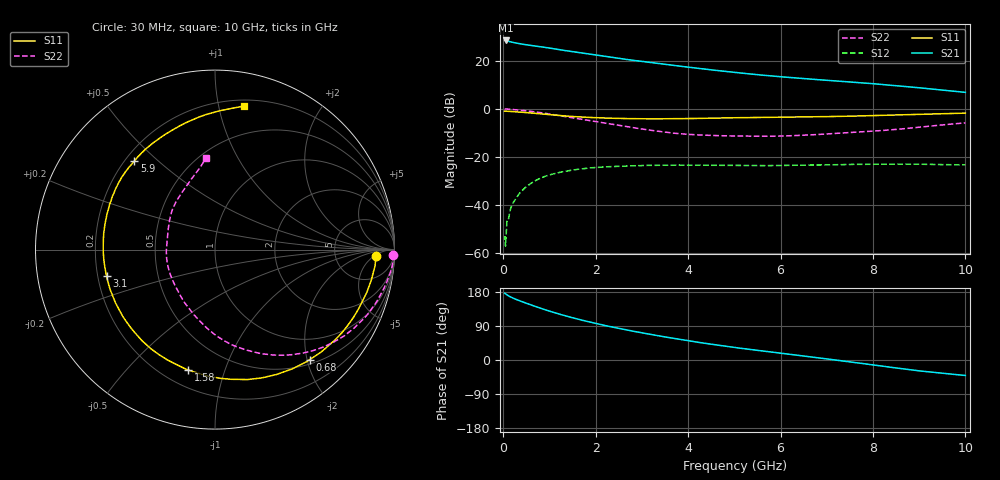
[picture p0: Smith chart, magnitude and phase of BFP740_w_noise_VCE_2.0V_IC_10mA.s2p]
! Infineon Technologies  Discrete & RF Semiconductors
! BFP740
! VCE =  2.0 V,  IC =  10 mA
! Common Emitter S-Parameters:  Jan 2016
# GHz  S  MA  R  50
!  f  S11  S21  S12  S22
! GHz  MAG  ANG  MAG  ANG  MAG  ANG  MAG  ANG
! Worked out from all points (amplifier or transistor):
!   229 points, 30 MHz to 10 GHz, reference 50 ohm
!   highest |S21| = 28.4 dB at 50 MHz (marker M1)
!   |S21| within 3 dB of that: start of sweep to 947.9 MHz
!   unconditionally stable (mu >= 1): 7.028 GHz to end of sweep
!   at 280 MHz: K = 0.16, MSG = 32.3 dB, |S12| = -37.2 dB
!   at 1.78 GHz: K = 0.33, MSG = 23.9 dB, |S12| = -24.8 dB
!   at 10 GHz: K = 1.09, MAG = 13.3 dB, |S12| = -23.3 dB
!   lowest NFmin = 0.51 dB at 450 MHz
!   S11 on the Smith chart (normalised r, x): 30 MHz: 16, -6; 680 MHz: 0.58, -2.05; 1.58 GHz: 0.30, -0.76; 3.1 GHz: 0.24, -0.11; 5.9 GHz: 0.24, +0.42; 10 GHz: 0.25, +1.20
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0.03  0.8985 -2.4  26.31 176.5  0.0019 104.1  0.9948 -1.6
0.05  0.8972 -4.0  26.44 174.9  0.0014 83.5  0.9944 -2.8
0.08  0.8943 -6.6  25.9 172.1  0.0045 83.0  0.9923 -4.5
0.13  0.8887 -10.4  25.26 168.2  0.0062 80.1  0.9863 -7.3
0.24  0.8718 -18.7  23.78 161.8  0.0121 76.9  0.9663 -12.7
0.45  0.8447 -33.5  21.84 151.9  0.0219 70.7  0.9262 -22.6
0.68  0.809 -49.2  20.34 142.0  0.0316 62.2  0.8702 -32.8
0.9  0.7755 -63.8  19.06 132.8  0.0395 54.5  0.8116 -42.0
1.06  0.7511 -73.6  17.98 126.8  0.0439 49.6  0.7667 -48.2
1.32  0.7152 -88.6  16.42 117.4  0.05 42.2  0.6972 -57.5
1.58  0.6867 -102.6  15.07 109.0  0.0549 36.2  0.6349 -65.9
1.7  0.6754 -108.9  14.51 105.2  0.0565 33.6  0.6068 -69.6
2.3  0.6413 -136.2  11.93 88.4  0.063 22.6  0.489 -87.6
2.8  0.6258 -155.7  10.27 76.2  0.0658 15.3  0.4081 -101.7
3.1  0.6224 -166.2  9.412 69.5  0.0668 11.7  0.3689 -110.9
3.4  0.622 -176.1  8.661 63.0  0.0676 8.3  0.3389 -120.5
4.2  0.6337 161.5  6.998 47.1  0.0676 1.0  0.288 -147.4
5.1  0.6553 143.5  5.613 31.6  0.0665 -4.6  0.2726 -172.5
5.9  0.668 132.3  4.745 19.5  0.0665 -7.5  0.2708 169.4
6.8  0.6866 120.5  4.059 6.0  0.0682 -11.2  0.293 151.1
8.4  0.7442 96.8  3.1 -19.4  0.071 -19.8  0.3671 120.2
10  0.816 78.4  2.204 -40.9  0.0686 -26.8  0.5124 95.6
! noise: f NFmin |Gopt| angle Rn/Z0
0.45  0.51  0.22  7  0.16
0.9  0.52  0.22  13  0.16
1.5  0.54  0.21  22  0.15
1.9  0.57  0.21  40  0.15
2.4  0.6  0.2  46  0.14
3.5  0.7  0.18  59  0.13
5.5  0.87  0.17  198  0.12
10  1.35  0.51  -74  0.16
